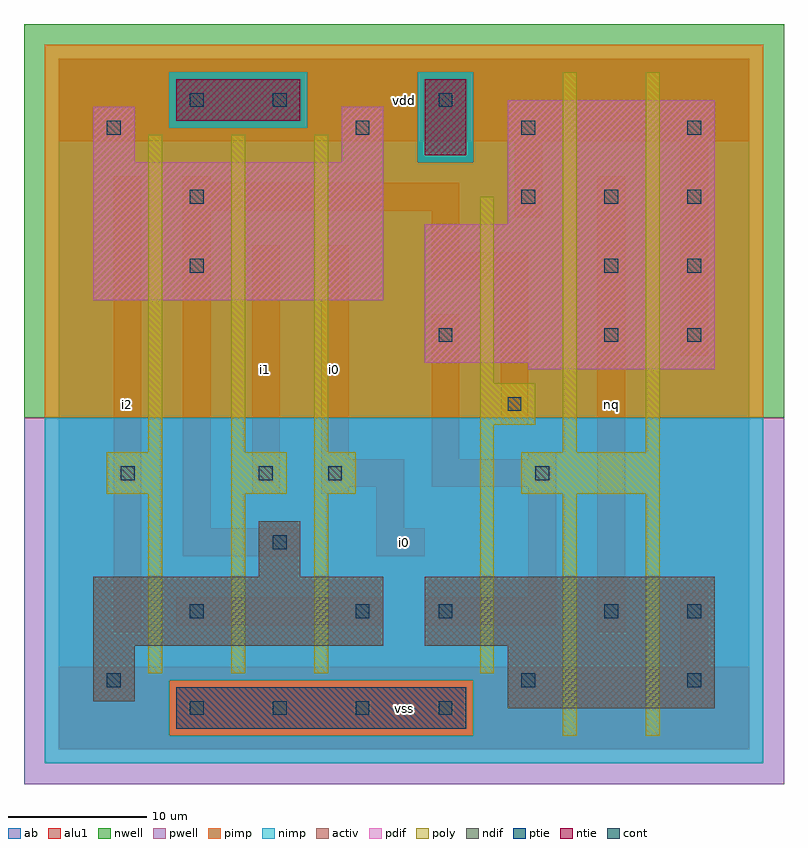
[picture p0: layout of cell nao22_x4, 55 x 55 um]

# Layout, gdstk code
import gdstk
lib = gdstk.Library(unit=1e-6, precision=1e-09)
def R(c, l, rs):  # rectangles x0, y0, x1, y1
    for r in rs: c.add(gdstk.rectangle(r[:2], r[2:], *l))
def A(c, l, x, y, w, h, nx, ny, dx, dy):  # array of equal rectangles
    R(c, l, [(x+i*dx, y+j*dy, x+i*dx+w, y+j*dy+h) for i in range(nx) for j in range(ny)])
ndif = (3, 0)
pdif = (4, 0)
ntie = (5, 0)
ptie = (6, 0)
cont = (25, 0)
pwell = (41, 0)
nwell = (42, 0)
activ = (43, 0)
pimp = (44, 0)
nimp = (45, 0)
poly = (46, 0)
alu1 = (49, 0)
ab = (63, 0)

nao22_x4 = lib.new_cell('nao22_x4')
R(nao22_x4, ndif, [(32.5,3,47.5,7.5), (2.5,3.5,5.5,7.5), (2.5,7.5,23.5,12.5), (26.5,7.5,47.5,12.5), (14.5,12.5,17.5,16.5)])
R(nao22_x4, pdif, [(34,27.5,47.5,28), (26.5,28,47.5,38), (2.5,32.5,23.5,42.5), (32.5,38,47.5,47), (2.5,42.5,5.5,46.5), (20.5,42.5,23.5,46.5)])
R(nao22_x4, ntie, [(26.5,43,29.5,48.5), (8.5,45.5,17.5,48.5)])
R(nao22_x4, ptie, [(8.5,1.5,29.5,4.5)])
A(nao22_x4, cont, 9.5, 2.5, 1, 1, 4, 1, 6, 0)
A(nao22_x4, cont, 33.5, 39.5, 1, 1, 3, 1, 6, 0)
A(nao22_x4, cont, 21.5, 44.5, 1, 1, 3, 1, 12, 0)
R(nao22_x4, cont, [(3.5,4.5,4.5,5.5), (33.5,4.5,34.5,5.5), (45.5,4.5,46.5,5.5), (9.5,9.5,10.5,10.5), (21.5,9.5,22.5,10.5), (27.5,9.5,28.5,10.5), (39.5,9.5,40.5,10.5), (45.5,9.5,46.5,10.5), (15.5,14.5,16.5,15.5), (4.5,19.5,5.5,20.5), (14.5,19.5,15.5,20.5), (19.5,19.5,20.5,20.5), (34.5,19.5,35.5,20.5), (32.5,24.5,33.5,25.5), (27.5,29.5,28.5,30.5), (39.5,29.5,40.5,30.5), (45.5,29.5,46.5,30.5), (9.5,34.5,10.5,35.5), (39.5,34.5,40.5,35.5), (45.5,34.5,46.5,35.5), (9.5,39.5,10.5,40.5), (3.5,44.5,4.5,45.5), (9.5,46.5,10.5,47.5), (15.5,46.5,16.5,47.5), (27.5,46.5,28.5,47.5)])
R(nao22_x4, pwell, [(-2.5,-2.5,52.5,24)])
R(nao22_x4, nwell, [(-2.5,24,52.5,52.5)])
R(nao22_x4, activ, [(8.5,1.5,29.5,4.5), (32.5,3,47.5,7.5), (2.5,3.5,5.5,7.5), (2.5,7.5,23.5,12.5), (26.5,7.5,47.5,12.5), (14.5,12.5,17.5,16.5), (34,27.5,47.5,28), (26.5,28,47.5,38), (2.5,32.5,23.5,42.5), (32.5,38,47.5,47), (2.5,42.5,5.5,46.5), (20.5,42.5,23.5,46.5), (26.5,43,29.5,48.5), (8.5,45.5,17.5,48.5)])
R(nao22_x4, pimp, [(8,1,30,5), (-1,24,51,42.5), (-1,42.5,26,45), (30,42.5,51,49), (-1,45,8,49), (18,45,26,49), (-1,49,51,51)])
R(nao22_x4, nimp, [(-1,-1,51,1), (-1,1,8,5), (30,1,51,5), (-1,5,51,24), (26,42.5,30,49), (8,45,18,49)])
A(nao22_x4, poly, 6.5, 5.5, 1, 13, 3, 1, 6, 0)
A(nao22_x4, poly, 6.5, 21.5, 1, 23, 3, 1, 6, 0)
R(nao22_x4, poly, [(36.5,1,37.5,18.5), (42.5,1,43.5,18.5), (30.5,5.5,31.5,23.5), (3.5,18.5,7.5,21.5), (12.5,18.5,16.5,21.5), (18.5,18.5,21.5,21.5), (33.5,18.5,43.5,21.5), (36.5,21.5,37.5,49), (42.5,21.5,43.5,49), (30.5,23.5,34.5,26.5), (30.5,26.5,31.5,40)])
R(nao22_x4, alu1, [(0,0,50,6), (0,0,50,6), (45,6,47,11.5), (45,6,47,11.5), (4,8.5,6,41.5), (4,8.5,6,41.5), (39,8.5,41,41.5), (39,8.5,41,41.5), (8.5,9,23.5,11), (8.5,9,23.5,11), (26.5,9,36,11), (26.5,9,36,11), (34,11,36,19), (34,11,36,19), (9,14,17.5,16), (9,14,17.5,16), (23,14,26.5,16), (23,14,26.5,16), (9,16,11,39), (9,16,11,39), (23,16,25,19), (23,16,25,19), (14,18.5,16,36.5), (14,18.5,16,36.5), (19,18.5,21,19), (19,18.5,21,19), (19,19,25,21), (19,19,25,21), (27,19,36,21), (27,19,36,21), (19,21,21,36.5), (19,21,21,36.5), (27,21,29,31.5), (27,21,29,31.5), (34,21,36,21.5), (34,21,36,21.5), (32,23.5,34,34), (32,23.5,34,34), (45,28.5,47,44), (45,28.5,47,44), (27,34,34,36), (27,34,34,36), (27,36,29,39), (27,36,29,39), (33,38.5,35,44), (33,38.5,35,44), (9,39,29,41), (9,39,29,41), (9,41,11,41.5), (9,41,11,41.5), (0,44,50,50), (0,44,50,50)])
R(nao22_x4, ab, [(0,0,50,50)])
nao22_x4.add(gdstk.Label('i2', (5,25), layer=49, texttype=0))
nao22_x4.add(gdstk.Label('i0', (20,27.5), layer=49, texttype=0))
nao22_x4.add(gdstk.Label('i1', (15,27.5), layer=49, texttype=0))
nao22_x4.add(gdstk.Label('vss', (25,3), layer=49, texttype=0))
nao22_x4.add(gdstk.Label('i0', (25,15), layer=49, texttype=0))
nao22_x4.add(gdstk.Label('vdd', (25,47), layer=49, texttype=0))
nao22_x4.add(gdstk.Label('nq', (40,25), layer=49, texttype=0))

lib.write_gds('nao22_x4.gds')
